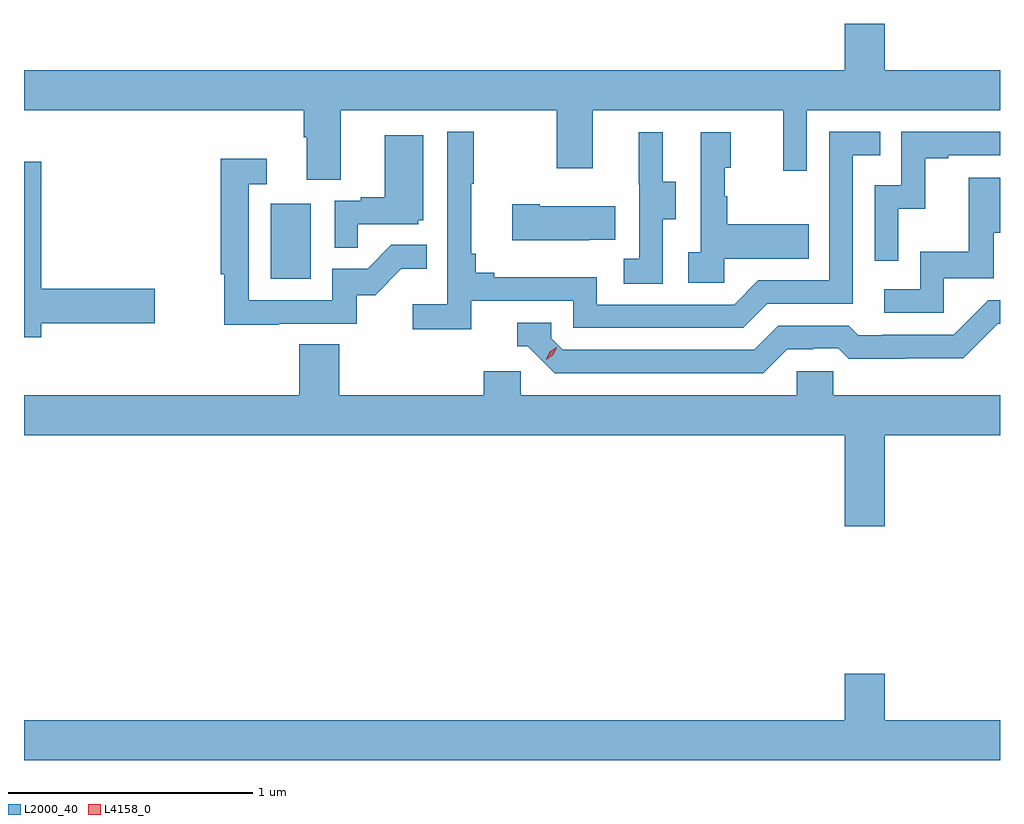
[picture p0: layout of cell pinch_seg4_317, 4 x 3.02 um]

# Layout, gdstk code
import gdstk
lib = gdstk.Library(unit=1e-6, precision=1e-09)
def R(c, l, rs):  # rectangles x0, y0, x1, y1
    for r in rs: c.add(gdstk.rectangle(r[:2], r[2:], *l))
def P(c, l, *ps):  # polygons
    for p in ps: c.add(gdstk.Polygon(p, *l))
L2000_40 = (2000, 40)
L4158_0 = (4158, 0)

pinch_seg4_317 = lib.new_cell('pinch_seg4_317')
R(pinch_seg4_317, L2000_40, [(893.924,805.452,894.088,805.759)])
P(pinch_seg4_317, L2000_40, [(894.211,806.144),(895.096,806.144),(895.096,805.905),(895.243,805.905),(895.243,806.144),(896.024,806.144),(896.024,805.896),(896.121,805.896),(896.121,806.144),(896.913,806.144),(896.913,806.308),(896.44,806.308),(896.44,806.497),(896.276,806.497),(896.276,806.308),(892.913,806.308),(892.913,806.144),(894.059,806.144),(894.059,806.032),(894.071,806.032),(894.071,805.858),(894.211,805.858)],
  [(894.746,805.362),(895.164,805.362),(895.164,805.251),(895.861,805.251),(895.96,805.35),(896.31,805.35),(896.31,805.959),(896.423,805.959),(896.423,806.055),(896.214,806.055),(896.214,805.446),(895.923,805.446),(895.824,805.347),(895.26,805.347),(895.26,805.459),(894.841,805.459),(894.841,805.478),(894.764,805.478),(894.764,805.555),(894.745,805.555),(894.745,805.843),(894.757,805.843),(894.757,806.056),(894.648,806.056),(894.648,805.348),(894.507,805.348),(894.507,805.246),(894.746,805.246)],
  [(896.496,805.739),(896.606,805.739),(896.606,805.947),(896.701,805.947),(896.701,805.959),(896.913,805.959),(896.913,806.055),(896.508,806.055),(896.508,805.836),(896.4,805.836),(896.4,805.527),(896.496,805.527)],
  [(895.782,805.535),(896.129,805.535),(896.129,805.675),(895.795,805.675),(895.795,805.79),(895.785,805.79),(895.785,805.908),(895.81,805.908),(895.81,806.053),(895.686,806.053),(895.686,805.562),(895.635,805.562),(895.635,805.437),(895.782,805.437)],
  [(895.53,805.696),(895.585,805.696),(895.585,805.851),(895.531,805.851),(895.531,806.053),(895.433,806.053),(895.433,805.839),(895.434,805.839),(895.434,805.535),(895.371,805.535),(895.371,805.432),(895.53,805.432)],
  [(894.281,805.677),(894.528,805.677),(894.528,805.692),(894.55,805.692),(894.55,806.041),(894.392,806.041),(894.392,805.786),(894.293,805.786),(894.293,805.773),(894.186,805.773),(894.186,805.579),(894.281,805.579)],
  [(893.957,805.269),(894.276,805.269),(894.276,805.386),(894.352,805.386),(894.459,805.493),(894.563,805.493),(894.563,805.592),(894.419,805.592),(894.321,805.494),(894.177,805.494),(894.177,805.365),(893.835,805.365),(893.835,805.839),(893.908,805.839),(893.908,805.945),(893.719,805.945),(893.719,805.472),(893.734,805.472),(893.734,805.264),(893.957,805.264)],
  [(892.984,805.27),(893.449,805.27),(893.449,805.412),(892.984,805.412),(892.984,805.933),(892.913,805.933),(892.913,805.212),(892.984,805.212)],
  [(896.682,805.455),(896.887,805.455),(896.887,805.641),(896.913,805.641),(896.913,805.867),(896.785,805.867),(896.785,805.564),(896.586,805.564),(896.586,805.41),(896.439,805.41),(896.439,805.314),(896.682,805.314)],
  [(895.229,805.613),(895.337,805.613),(895.337,805.75),(895.027,805.75),(895.027,805.758),(894.915,805.758),(894.915,805.61),(895.229,805.61)],
  [(896.041,805.164),(896.148,805.164),(896.148,805.167),(896.251,805.167),(896.293,805.125),(896.526,805.125),(896.526,805.127),(896.762,805.127),(896.904,805.269),(896.913,805.269),(896.913,805.365),(896.865,805.365),(896.724,805.224),(896.431,805.224),(896.431,805.221),(896.332,805.221),(896.293,805.26),(896.004,805.26),(895.905,805.161),(895.122,805.161),(895.074,805.209),(895.074,805.272),(894.935,805.272),(894.935,805.176),(894.978,805.176),(895.089,805.065),(895.942,805.065)],
  [(896.44,804.812),(896.913,804.812),(896.913,804.976),(896.229,804.976),(896.229,805.074),(896.079,805.074),(896.079,804.976),(894.948,804.976),(894.948,805.074),(894.797,805.074),(894.797,804.976),(894.206,804.976),(894.206,805.184),(894.041,805.184),(894.041,804.976),(892.913,804.976),(892.913,804.812),(896.276,804.812),(896.276,804.438),(896.44,804.438)],
  [(896.913,803.644),(896.44,803.644),(896.44,803.833),(896.276,803.833),(896.276,803.644),(892.913,803.644),(892.913,803.48),(896.913,803.48)])
P(pinch_seg4_317, L4158_0, [(895.053,805.121),(895.053,805.122),(895.068,805.154),(895.099,805.174),(895.099,805.174),(895.099,805.174),(895.083,805.141),(895.053,805.121)])

lib.write_gds('pinch_seg4_317.gds')
